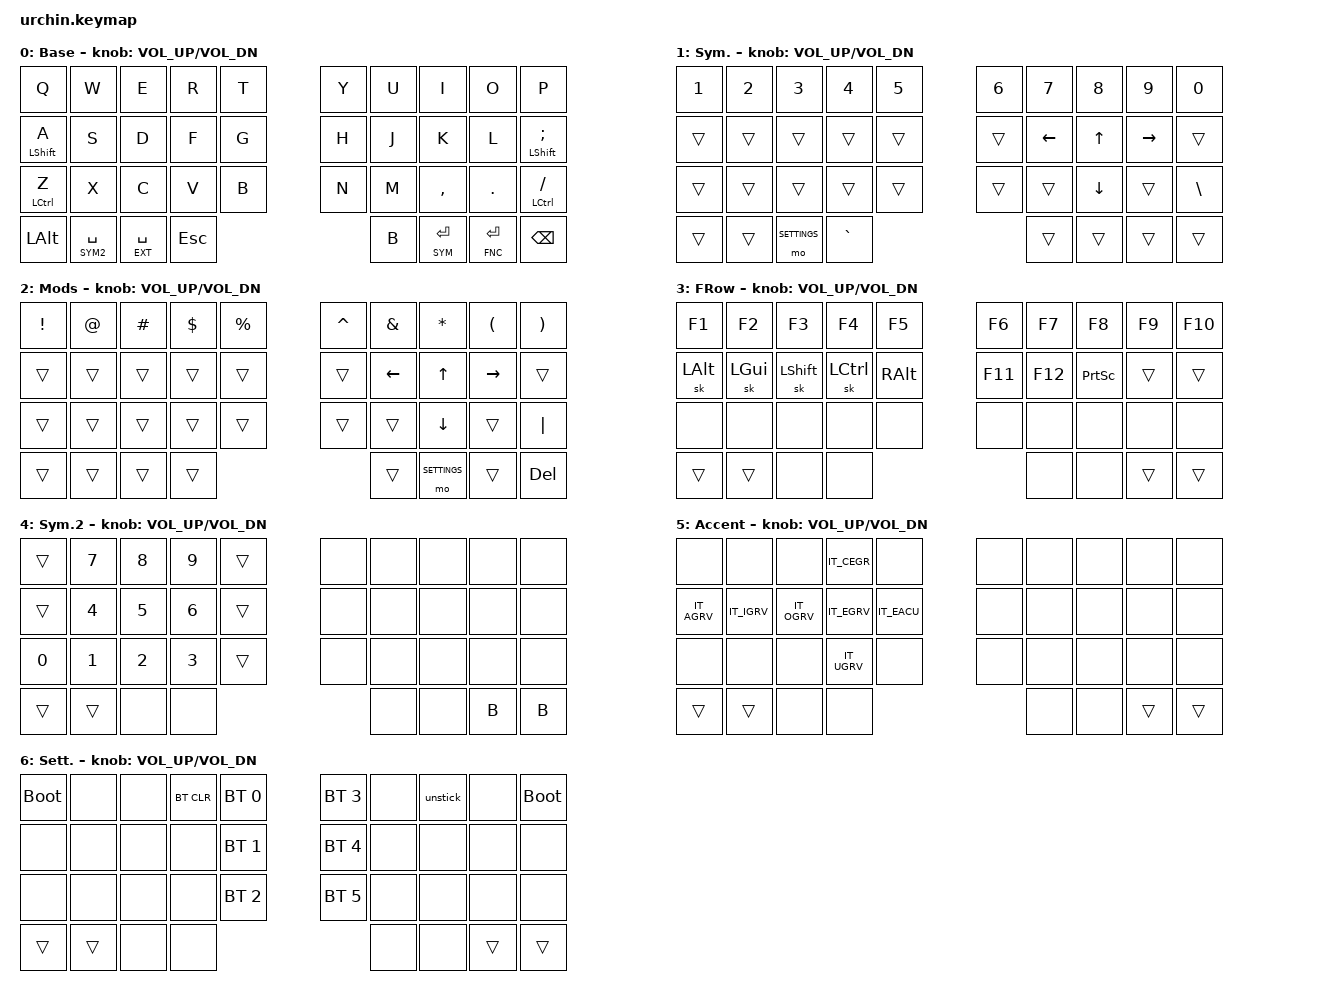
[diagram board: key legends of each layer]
/*
 * Copyright (c) 2020 duckyb
 *
 * SPDX-License-Identifier: MIT
 */

#include <behaviors.dtsi>
#include <dt-bindings/zmk/keys.h>
#include <dt-bindings/zmk/bt.h>
#include <dt-bindings/zmk/outputs.h>
#include "keymap_italian.h"

// Layer definitions
    #define BASE 0
    #define SYM 1
    #define EXT 2
    #define FNC 3
    #define SYM2 4
    #define ACCENT 5
		#define SETTINGS 6
// -----------------

&mt {
  quick-tap-ms = <100>;
  global-quick-tap;
  flavor = "tap-preferred";
  tapping-term-ms = <170>;
};

&sk {
		// don't release mods on other mods presses
    ignore-modifiers;
};

/ {
		macros {
				// sometimes my device thinks a modifier is being held down
				// pressing all modifiers fixes it.
				unstick: unstick {
					label = "ZM_unstick";
					compatible = "zmk,behavior-macro";
					#binding-cells = <0>;
					bindings = <&kp LSHIFT &kp RSHIFT &kp LCTRL &kp RCTRL &kp LALT &kp RALT &kp LGUI &kp RGUI>;
				};
		};

    combos {
        compatible = "zmk,combos";
		// both right thumb keys
			combo_accent {
			timeout-ms = <100>;
			key-positions = <36 37>;
			bindings = <&mo ACCENT>;
			};
		// internal-left & external-right thumb keys
		combo_sym2 {
			timeout-ms = <100>;
			key-positions = <32 33>;
			bindings = <&mo SYM2>;
		};
		// both left thumb keys
		combo_settings {
			timeout-ms = <100>;
			key-positions = <33 36>;
			bindings = <&mo SETTINGS>;
		};
		combo_tab {
			timeout-ms = <50>;
			key-positions = <0 1>;
			bindings = <&kp TAB>;
		};
		combo_undo {
			timeout-ms = <50>;
			key-positions = <21 22>;
			bindings = <&kp LC(Z)>;
		};
		combo_1 {
			timeout-ms = <50>;
			key-positions = <0 10>;
			bindings = <&kp N1>;
		};
		combo_2 {
			timeout-ms = <50>;
			key-positions = <1 11>;
			bindings = <&kp N2>;
		};
		combo_3 {
			timeout-ms = <50>;
			key-positions = <2 12>;
			bindings = <&kp N3>;
		};
		combo_4 {
			timeout-ms = <50>;
			key-positions = <3 13>;
			bindings = <&kp N4>;
		};
		combo_5 {
			timeout-ms = <50>;
			key-positions = <4 14>;
			bindings = <&kp N5>;
		};
		combo_6 {
			timeout-ms = <50>;
			key-positions = <5 15>;
			bindings = <&kp N6>;
		};
		combo_7 {
			timeout-ms = <50>;
			key-positions = <6 16>;
			bindings = <&kp N7>;
		};
		combo_8 {
			timeout-ms = <50>;
			key-positions = <7 17>;
			bindings = <&kp N8>;
		};
		combo_9 {
			timeout-ms = <50>;
			key-positions = <8 18>;
			bindings = <&kp N9>;
		};
		combo_0 {
			timeout-ms = <50>;
			key-positions = <9 19>;
			bindings = <&kp N0>;
		};
		combo_equal {
			timeout-ms = <50>;
			key-positions = <15 16>;
			bindings = <&kp EQUAL>;
		};
		combo_minus {
			timeout-ms = <50>;
			key-positions = <25 26>;
			bindings = <&kp MINUS>;
		};
		combo_lpar {
			timeout-ms = <50>;
			key-positions = <2 3>;
			bindings = <&kp LPAR>;
		};
		combo_lbrc {
			timeout-ms = <50>;
			key-positions = <12 13>;
			bindings = <&kp LBRC>;
		};
		combo_lbkt {
			timeout-ms = <50>;
			key-positions = <22 23>;
			bindings = <&kp LBKT>;
		};
		combo_rpar {
			timeout-ms = <50>;
			key-positions = <6 7>;
			bindings = <&kp RPAR>;
		};
		combo_rbrc {
			timeout-ms = <50>;
			key-positions = <16 17>;
			bindings = <&kp RBRC>;
		};
		combo_rbkt {
			timeout-ms = <50>;
			key-positions = <26 27>;
			bindings = <&kp RBKT>;
		};
		combo_sqt {
			timeout-ms = <50>;
			key-positions = <17 18>;
			bindings = <&kp SQT>;
		};
    };

    keymap {
				compatible = "zmk,keymap";

        // Base alpha layer
				default_layer {
						label = "Base";
						bindings = <
						&kp Q 		 &kp W &kp E &kp R &kp T           &kp Y &kp U  &kp I     &kp O   &kp P 
						&mt LSHIFT A &kp S &kp D &kp F &kp G           &kp H &kp J  &kp K     &kp L   &mt LSHIFT SEMI
						&mt LCTRL Z  &kp X &kp C &kp V &kp B           &kp N &kp M  &kp COMMA &kp DOT &mt LCTRL FSLH
						&kp LALT &lt SYM2 SPACE &lt EXT SPACE &kp ESC       &kp B &lt SYM RET &lt FNC RET &kp BSPC
						>;
						sensor-bindings = <&inc_dec_kp C_VOL_UP C_VOL_DN>;
				};

        // Numbers and high frequency symbols
				sym_layer {
						label = "Sym.";
						bindings = <
						&kp N1 &kp N2 &kp N3 &kp N4 &kp N5		       &kp N6 &kp N7 &kp N8 &kp N9 &kp N0
						&trans &trans &trans &trans &trans  		   &trans &kp LEFT  &kp UP  &kp RIGHT &trans
						&trans &trans &trans &trans &trans 			   &trans &trans &kp DOWN &trans &kp BSLH
							&trans &trans &mo SETTINGS &kp GRAVE       	   &trans &trans &trans &trans
						>;
						sensor-bindings = <&inc_dec_kp C_VOL_UP C_VOL_DN>;
				};

        // Main modifiers and arrow keys
		    ext_layer {
						label = "Mods";
						bindings = <
						&kp EXCL  &kp AT &kp HASH  &kp DLLR  &kp PRCNT    			&kp CARET  &kp AMPS &kp ASTRK &kp LPAR &kp RPAR
						&trans &trans  &trans  &trans  &trans 			&trans &kp LEFT  &kp UP  &kp RIGHT   &trans
						&trans  &trans &trans &trans   &trans          &trans &trans &kp DOWN &trans  &kp PIPE
								&trans &trans &trans &trans    &trans  &mo SETTINGS &trans &kp DEL
						>;
						sensor-bindings = <&inc_dec_kp C_VOL_UP C_VOL_DN>;
				};

        // Function keys with modifiers
				fnc_layer {
						label = "FRow";
						bindings = <
						&kp F1 &kp F2 &kp F3 &kp F4 &kp F5                  &kp F6 &kp F7 &kp F8 &kp F9 &kp F10 
						&sk LALT &sk LGUI &sk LSHIFT &sk LCTRL &kp RALT     &kp F11 &kp F12  &kp PRINTSCREEN &trans &trans
						&none &none &none &none &none				          &none &none &none &none &none 
																&trans &trans &none &none              &none &none &trans &trans
						>;
						sensor-bindings = <&inc_dec_kp C_VOL_UP C_VOL_DN>;
				};

        // Low frequency symbols.
				symbols_2_layer {
						label = "Sym.2";
						bindings = <
						&trans &kp N7 &kp N8 &kp N9 &trans         &none &none &none &none &none 
						&trans &kp N4 &kp N5 &kp N6 &trans         &none &none &none &none &none
						&kp N0 &kp N1 &kp N2 &kp N3 &trans				  &none &none &none &none &none
													&trans &trans &none &none        	&none &none &kp B &kp B
						>;
						sensor-bindings = <&inc_dec_kp C_VOL_UP C_VOL_DN>;
				};

        // Used to type regional accents.
				accent_layer {
						label = "Accent";
						bindings = <
						&none &none &none &kp IT_CEGR &none                         &none &none &none &none &none 
						&kp IT_AGRV &kp IT_IGRV &kp IT_OGRV &kp IT_EGRV &kp IT_EACU &none &none &none &none &none
						&none &none &none &kp IT_UGRV &none                         &none &none &none &none &none
														&trans &trans &none &none                         &none &none &trans &trans
						>;
						sensor-bindings = <&inc_dec_kp C_VOL_UP C_VOL_DN>;
				};

        // Used to change the keyboard's settings.
				settings_layer {
						label = "Sett.";
						bindings = <
						&bootloader &none &none &bt BT_CLR &bt BT_SEL 0               &bt BT_SEL 3 &none &unstick &none &bootloader 
						&none &none &none &none      &bt BT_SEL 1 						  &bt BT_SEL 4 &none &none &none &none
						&none &none &none &none      &bt BT_SEL 2               &bt BT_SEL 5 &none &none &none &none
													&trans &trans &none &none                         &none &none &trans &trans
						>;
						sensor-bindings = <&inc_dec_kp C_VOL_UP C_VOL_DN>;
				};
		};
};
